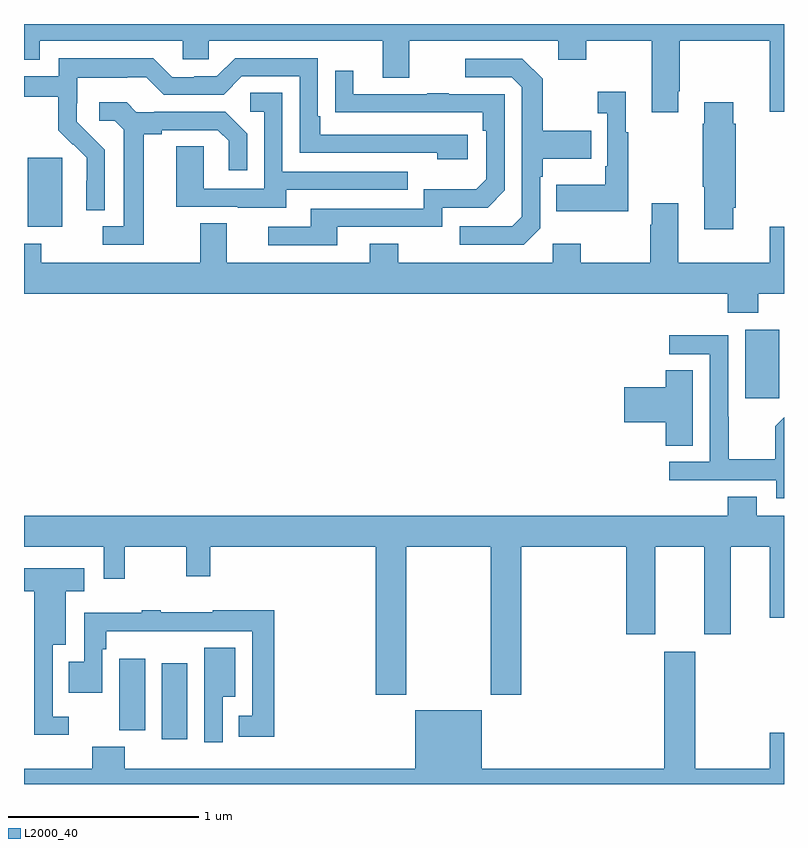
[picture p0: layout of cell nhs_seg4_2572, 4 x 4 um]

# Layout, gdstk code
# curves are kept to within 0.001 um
import gdstk
lib = gdstk.Library(unit=1e-6, precision=1e-09)
def R(c, l, rs):  # rectangles x0, y0, x1, y1
    for r in rs: c.add(gdstk.rectangle(r[:2], r[2:], *l))
def P(c, l, *ps):  # polygons
    for p in ps: c.add(gdstk.Polygon(p, *l))
L2000_40 = (2000, 40)

nhs_seg4_2572 = lib.new_cell('nhs_seg4_2572')
R(nhs_seg4_2572, L2000_40, [(245.726,801.135,245.86,801.535), (245.501,801.182,245.638,801.559), (248.795,802.929,248.974,803.29), (245.021,803.834,245.2,804.195)])
P(nhs_seg4_2572, L2000_40, [(248.443,804.547),(248.451,804.547),(248.451,804.812),(248.924,804.812),(248.924,804.438),(249,804.438),(249,804.9),(245,804.9),(245,804.713),(245.083,804.713),(245.083,804.812),(245.835,804.812),(245.835,804.714),(245.973,804.714),(245.973,804.812),(246.887,804.812),(246.887,804.618),(247.027,804.618),(247.027,804.812),(247.811,804.812),(247.811,804.713),(247.959,804.713),(247.959,804.812),(248.303,804.812),(248.303,804.435),(248.443,804.435)],
  [(245.424,804.238),(245.278,804.386),(245.278,804.483),(245.28,804.483),(245.28,804.617),(245.543,804.617),(245.543,804.621),(245.643,804.621),(245.736,804.528),(246.051,804.528),(246.147,804.624),(246.45,804.624),(246.45,804.222),(247.175,804.222),(247.175,804.188),(247.336,804.188),(247.336,804.318),(246.559,804.318),(246.559,804.415),(246.546,804.415),(246.546,804.72),(246.111,804.72),(246.015,804.624),(245.897,804.624),(245.897,804.621),(245.781,804.621),(245.681,804.721),(245.184,804.721),(245.184,804.624),(245,804.624),(245,804.516),(245.179,804.516),(245.179,804.341),(245.256,804.264),(245.259,804.267),(245.33,804.197),(245.33,804.074),(245.328,804.074),(245.328,803.92),(245.424,803.92)],
  [(247.716,803.826),(247.716,804.095),(247.729,804.095),(247.729,804.191),(247.985,804.191),(247.985,804.339),(247.729,804.339),(247.729,804.611),(247.623,804.717),(247.323,804.717),(247.323,804.621),(247.566,804.621),(247.62,804.567),(247.62,803.886),(247.569,803.835),(247.293,803.835),(247.293,803.739),(247.629,803.739)],
  [(246.649,803.832),(247.2,803.832),(247.2,803.934),(247.44,803.934),(247.53,804.024),(247.53,804.531),(247.235,804.531),(247.235,804.536),(247.123,804.536),(247.123,804.531),(246.733,804.531),(246.733,804.655),(246.637,804.655),(246.637,804.436),(247.414,804.435),(247.414,804.338),(247.434,804.338),(247.434,804.084),(247.381,804.031),(247.104,804.031),(247.104,803.928),(246.509,803.928),(246.509,803.832),(246.285,803.832),(246.285,803.736),(246.649,803.736)],
  [(248.179,804.331),(248.167,804.331),(248.167,804.544),(248.019,804.544),(248.019,804.431),(248.07,804.431),(248.07,804.151),(248.058,804.151),(248.058,804.055),(247.801,804.055),(247.801,803.915),(248.179,803.915)],
  [(246.379,804.027),(247.019,804.027),(247.019,804.123),(246.36,804.123),(246.36,804.539),(246.192,804.539),(246.192,804.438),(246.264,804.438),(246.264,804.033),(245.946,804.033),(245.946,804.257),(245.801,804.257),(245.801,803.937),(246.125,803.937),(246.125,803.933),(246.379,803.933)],
  [(248.734,803.932),(248.747,803.932),(248.747,804.374),(248.734,804.374),(248.734,804.487),(248.579,804.487),(248.579,804.374),(248.572,804.374),(248.572,804.043),(248.579,804.043),(248.579,803.82),(248.734,803.82)],
  [(245.629,804.32),(245.725,804.32),(245.725,804.342),(246.02,804.342),(246.077,804.285),(246.077,804.129),(246.174,804.129),(246.174,804.322),(246.058,804.438),(245.686,804.438),(245.686,804.435),(245.592,804.435),(245.54,804.487),(245.397,804.487),(245.397,804.39),(245.478,804.39),(245.525,804.343),(245.525,803.835),(245.415,803.835),(245.415,803.739),(245.629,803.739)],
  [(248.865,803.48),(249,803.48),(249,803.833),(248.924,803.833),(248.924,803.644),(248.443,803.644),(248.443,803.956),(248.303,803.956),(248.303,803.843),(248.296,803.843),(248.296,803.644),(247.929,803.644),(247.929,803.743),(247.782,803.743),(247.782,803.644),(246.969,803.644),(246.969,803.743),(246.821,803.743),(246.821,803.644),(246.067,803.644),(246.067,803.852),(245.927,803.852),(245.927,803.644),(245.091,803.644),(245.091,803.743),(245,803.743),(245,803.48),(248.705,803.48),(248.705,803.381),(248.865,803.381)],
  [(249,802.83),(248.953,802.783),(248.953,802.609),(248.709,802.609),(248.709,802.832),(248.706,802.832),(248.706,803.262),(248.397,803.262),(248.397,803.163),(248.61,803.163),(248.61,802.596),(248.397,802.596),(248.397,802.5),(248.958,802.5),(248.958,802.403),(249,802.403)],
  [(248.521,803.078),(248.378,803.078),(248.378,802.988),(248.16,802.988),(248.16,802.805),(248.378,802.805),(248.378,802.681),(248.521,802.681)],
  [(245,802.148),(245.421,802.148),(245.421,801.981),(245.53,801.981),(245.53,802.148),(245.853,802.148),(245.853,801.993),(245.981,801.993),(245.981,802.148),(246.851,802.148),(246.851,801.369),(247.011,801.369),(247.011,802.148),(247.456,802.148),(247.456,801.369),(247.616,801.369),(247.616,802.148),(248.171,802.148),(248.171,801.687),(248.323,801.687),(248.323,802.148),(248.579,802.148),(248.579,801.687),(248.719,801.687),(248.719,802.148),(248.924,802.148),(248.924,801.774),(249,801.774),(249,802.312),(248.857,802.312),(248.857,802.411),(248.705,802.411),(248.705,802.312),(245,802.312)],
  [(245.236,801.255),(245.151,801.255),(245.151,801.632),(245.221,801.632),(245.221,801.914),(245.317,801.914),(245.317,802.036),(245,802.036),(245,801.914),(245.055,801.914),(245.055,801.158),(245.236,801.158)],
  [(246.317,801.814),(245.994,801.814),(245.994,801.803),(245.719,801.803),(245.719,801.814),(245.619,801.814),(245.619,801.802),(245.316,801.802),(245.316,801.544),(245.236,801.544),(245.236,801.381),(245.412,801.381),(245.412,801.608),(245.432,801.608),(245.432,801.704),(245.852,801.704),(245.852,801.705),(246.201,801.705),(246.201,801.259),(246.13,801.259),(246.13,801.15),(246.317,801.15)],
  [(246.045,801.359),(246.112,801.359),(246.112,801.616),(245.949,801.616),(245.949,801.12),(246.045,801.12)],
  [(249,801.169),(248.924,801.169),(248.924,800.98),(248.533,800.98),(248.533,801.595),(248.369,801.595),(248.369,800.98),(247.408,800.98),(247.408,801.289),(247.058,801.289),(247.058,800.98),(245.53,800.98),(245.53,801.097),(245.36,801.097),(245.36,800.98),(245,800.98),(245,800.9),(249,800.9)])

lib.write_gds('nhs_seg4_2572.gds')
